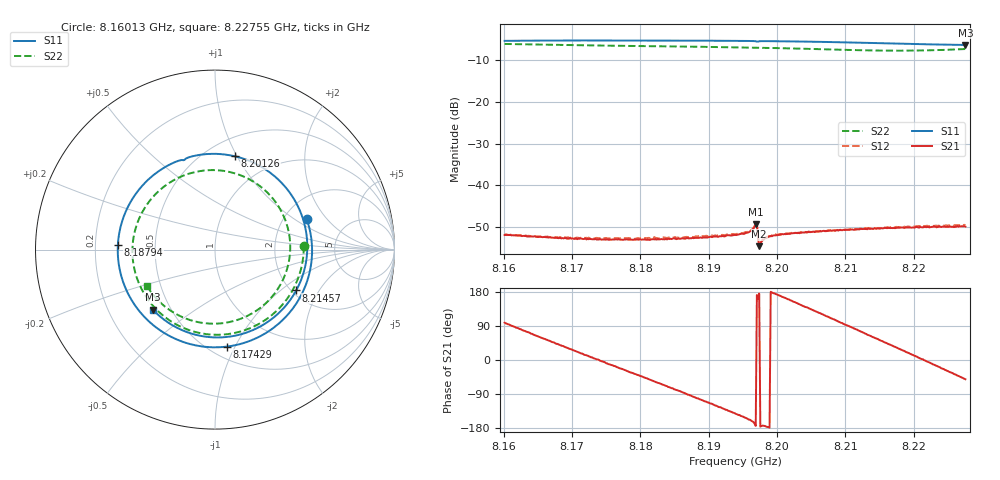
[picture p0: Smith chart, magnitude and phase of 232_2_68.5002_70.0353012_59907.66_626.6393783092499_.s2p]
#  HZ  S  RI  R  50.00
! Rohde & Schwarz Vector Network Analyzer
! Rohde-Schwarz,ZNB20-2Port,1311601062101988,3.16
! Created: UTC 3/20/2024, 4:58:59 PM
! freq[Hz]  re:S11  im:S11  re:S21  im:S21  re:S12  im:S12  re:S22  im:S22
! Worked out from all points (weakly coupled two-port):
!   401 points, 8.16013 GHz to 8.22755 GHz, reference 50 ohm
!   highest |S21| = -49.34 dB at 8.19687 GHz (marker M1); lowest = -54.5 dB at 8.19738 GHz (marker M2)
!   lowest |S11| = -6.4 dB at 8.22755 GHz (marker M3), VSWR 2.86, Z = 20 - j17.4 ohm
!   |S11| at or under -10 dB: nowhere
!   |S22| runs from -7.7 to -6.1 dB; largest |S21 - S12| = 0.00022
!   S11 on the Smith chart (normalised r, x): 8.16013 GHz: 2.66, +1.26; 8.17429 GHz: 0.61, -0.93; 8.18794 GHz: 0.30, +0.02; 8.20126 GHz: 0.68, +0.98; 8.21457 GHz: 2.11, -1.29; 8.22755 GHz: 0.40, -0.35
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8.160132e9  0.5119 0.1678  -0.00038 0.00253  -0.00038 0.00255  0.4942 0.0179
8.165526e9  0.5091 -0.1881  0.00126 0.00207  0.00123 0.00208  0.3951 -0.2831
8.171425e9  0.2529 -0.4822  0.00221 0.000687  0.00226 0.000659  0.111 -0.4641
8.17429e9  0.0675 -0.5403  0.00224 -0.000126  0.00232 -0.000104  -0.0524 -0.4704
8.178335e9  -0.2048 -0.504  0.00192 -0.00116  0.00201 -0.0012  -0.2637 -0.3872
8.182717e9  -0.4398 -0.3189  0.0011 -0.00197  0.00107 -0.00206  -0.4186 -0.1999
8.187942e9  -0.5413 0.0236  -0.00034 -0.00234  -0.00039 -0.0024  -0.4506 0.0842
8.190807e9  -0.4948 0.2177  -0.00118 -0.00215  -0.00126 -0.00217  -0.3921 0.2313
8.193841e9  -0.3718 0.3902  -0.00199 -0.00161  -0.00208 -0.00155  -0.2782 0.3554
8.196875e9  -0.1861 0.499  -0.00339 -0.000357  -0.00349 -0.000204  -0.1258 0.4284
8.19738e9  -0.1616 0.5076  -0.00187 0.000149  -0.00194 0.000234  -0.0982 0.4347
8.197717e9  -0.1375 0.5167  -0.00213 -0.000221  -0.00216 -0.000127  -0.0794 0.4381
8.198728e9  -0.0659 0.5304  -0.00243 -0.000118  -0.00245 9.53e-06  -0.0223 0.4429
8.201257e9  0.1119 0.5197  -0.0025 0.000756  -0.00251 0.000858  0.1195 0.4222
8.205133e9  0.3512 0.3916  -0.00188 0.00205  -0.00183 0.00212  0.3064 0.3028
8.210021e9  0.509 0.0886  -0.000157 0.00295  -0.000111 0.00295  0.4183 0.0403
8.214571e9  0.4524 -0.2275  0.00168 0.00253  0.00179 0.0025  0.3456 -0.226
8.216425e9  0.3738 -0.3351  0.00233 0.00204  0.00242 0.00197  0.2668 -0.3132
8.219291e9  0.2037 -0.4515  0.00298 0.000973  0.00309 0.000871  0.1028 -0.3983
8.221987e9  0.0134 -0.4895  0.00319 -0.000255  0.00328 -0.000374  -0.0751 -0.4077
8.224515e9  -0.1655 -0.4561  0.00291 -0.00139  0.00292 -0.00151  -0.235 -0.3483
8.227549e9  -0.3461 -0.3344  0.00203 -0.00249  0.002 -0.00268  -0.3805 -0.2005
